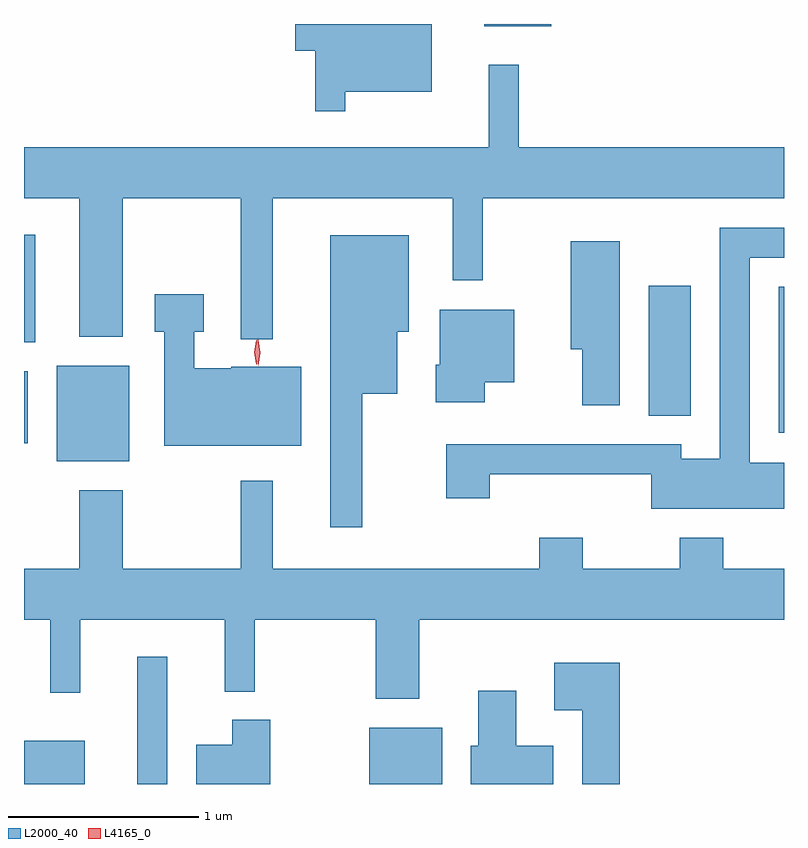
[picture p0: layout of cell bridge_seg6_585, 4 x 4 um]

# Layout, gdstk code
import gdstk
lib = gdstk.Library(unit=1e-6, precision=1e-09)
def R(c, l, rs):  # rectangles x0, y0, x1, y1
    for r in rs: c.add(gdstk.rectangle(r[:2], r[2:], *l))
def P(c, l, *ps):  # polygons
    for p in ps: c.add(gdstk.Polygon(p, *l))
L2000_40 = (2000, 40)
L4165_0 = (4165, 0)

bridge_seg6_585 = lib.new_cell('bridge_seg6_585')
R(bridge_seg6_585, L2000_40, [(550.169,1600.232,550.489,1600.459), (550.766,1600.232,550.924,1600.903), (551.986,1600.232,552.369,1600.529), (550.341,1601.931,550.724,1602.434), (550.169,1602.026,550.189,1602.404), (554.141,1602.081,554.169,1602.849), (553.456,1602.171,553.679,1602.854), (550.169,1602.556,550.229,1603.124), (552.591,1604.221,552.944,1604.232)])
P(bridge_seg6_585, L2000_40, [(551.859,1603.876),(552.314,1603.876),(552.314,1604.232),(551.596,1604.232),(551.596,1604.091),(551.701,1604.091),(551.701,1603.773),(551.859,1603.773)],
  [(551.479,1603.316),(552.426,1603.316),(552.426,1602.883),(552.584,1602.883),(552.584,1603.316),(554.169,1603.316),(554.169,1603.584),(552.774,1603.584),(552.774,1604.018),(552.616,1604.018),(552.616,1603.584),(550.169,1603.584),(550.169,1603.316),(550.461,1603.316),(550.461,1602.586),(550.689,1602.586),(550.689,1603.316),(551.311,1603.316),(551.311,1602.573),(551.479,1602.573)],
  [(554.169,1601.924),(553.989,1601.924),(553.989,1603.001),(554.169,1603.001),(554.169,1603.159),(553.831,1603.159),(553.831,1601.944),(553.629,1601.944),(553.629,1602.019),(552.391,1602.019),(552.391,1601.736),(552.619,1601.736),(552.619,1601.861),(553.471,1601.861),(553.471,1601.681),(554.169,1601.681)],
  [(551.949,1602.286),(552.134,1602.286),(552.134,1602.611),(552.194,1602.611),(552.194,1603.119),(551.781,1603.119),(551.781,1601.583),(551.949,1601.583)],
  [(553.304,1603.089),(553.046,1603.089),(553.046,1602.521),(553.106,1602.521),(553.106,1602.226),(553.304,1602.226)],
  [(551.629,1602.429),(551.26,1602.429),(551.26,1602.419),(551.064,1602.419),(551.064,1602.611),(551.114,1602.611),(551.114,1602.809),(550.856,1602.809),(550.856,1602.611),(550.906,1602.611),(550.906,1602.011),(551.629,1602.011)],
  [(552.594,1602.346),(552.749,1602.346),(552.749,1602.729),(552.356,1602.729),(552.356,1602.439),(552.336,1602.439),(552.336,1602.241),(552.594,1602.241)],
  [(550.461,1601.779),(550.461,1601.364),(550.169,1601.364),(550.169,1601.096),(550.306,1601.096),(550.306,1600.713),(550.464,1600.713),(550.464,1601.096),(551.226,1601.096),(551.226,1600.718),(551.384,1600.718),(551.384,1601.096),(552.021,1601.096),(552.021,1600.681),(552.249,1600.681),(552.249,1601.096),(554.169,1601.096),(554.169,1601.364),(553.849,1601.364),(553.849,1601.529),(553.621,1601.529),(553.621,1601.364),(553.109,1601.364),(553.109,1601.529),(552.881,1601.529),(552.881,1601.364),(551.479,1601.364),(551.479,1601.828),(551.311,1601.828),(551.311,1601.364),(550.689,1601.364),(550.689,1601.779)],
  [(553.304,1600.869),(552.961,1600.869),(552.961,1600.621),(553.106,1600.621),(553.106,1600.232),(553.304,1600.232)],
  [(552.954,1600.434),(552.759,1600.434),(552.759,1600.724),(552.561,1600.724),(552.561,1600.434),(552.521,1600.434),(552.521,1600.232),(552.954,1600.232)],
  [(551.464,1600.569),(551.266,1600.569),(551.266,1600.439),(551.076,1600.439),(551.076,1600.232),(551.464,1600.232)])
P(bridge_seg6_585, L4165_0, [(551.392,1602.442),(551.392,1602.442),(551.382,1602.504),(551.392,1602.567),(551.392,1602.567),(551.393,1602.567),(551.402,1602.504),(551.393,1602.442)],
  [(551.402,1602.434),(551.402,1602.434),(551.392,1602.502),(551.4,1602.57),(551.401,1602.571),(551.402,1602.57),(551.412,1602.502),(551.402,1602.434)])

lib.write_gds('bridge_seg6_585.gds')
